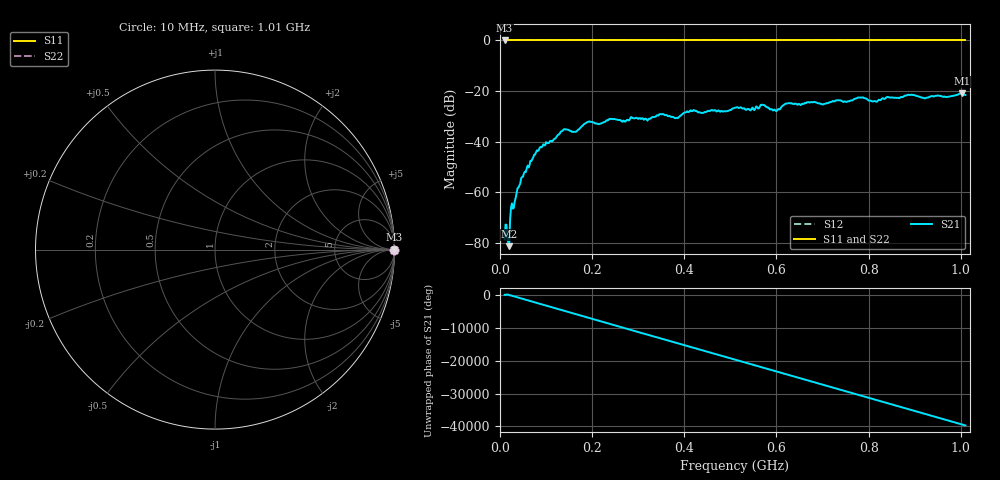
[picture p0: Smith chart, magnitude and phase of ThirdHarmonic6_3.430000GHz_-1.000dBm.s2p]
! 8/17/2025 11:01:50 AM
! C:\ANRITSUVNA\TEMP\TEMP.S2P
! CHANNEL.1
! TR.MEASUREMENT
! RAW.DATA
! RF.CORRECTION.OFF
! AVERAGING.OFF
! IF.BANDWIDTH: 5KHZ
! SWEEPTYPE:  FREQ.SWEEP(Linear)
! Reference Plane Port Info
! PORT:  PORT1  PORT2
! DISTANCE:  0  m  0  m
! TIME:  0  s  0  s
! PHASE.OFFSET:  0  deg.  0  deg.
! LOSS:  0  dB  0  dB
! REF.LOSS:  0  dB  0  dB
! REF.FREQ:  0  Hz  0  Hz
! Power Info
! POWER:  -20  dBm  -20  dBm
! EFF.POWER:  -20  dBm  -20  dBm
! SOURCE.ATTEN:  0  dB  0  dB
! TEST.ATTEN:  0  dB  0  dB
# GHZ S RI R 50.0
! FREQ.GHZ  S11RE  S11IM  S21RE  S21IM  S12RE  S12IM  S22RE  S22IM
!; PortSelection: Port_12
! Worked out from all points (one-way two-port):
!   501 points, 10 MHz to 1.01 GHz, reference 50 ohm
!   highest |S21| = -20.95 dB at 1.002 GHz (marker M1); lowest = -81.3 dB at 20 MHz (marker M2)
!   lowest |S11| = 0.0 dB at 10 MHz (marker M3)
!   |S11| at or under -10 dB: nowhere
!   |S22| runs from 0.0 to 0.0 dB; largest |S21 - S12| = 1.1
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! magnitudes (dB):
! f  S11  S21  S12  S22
! 10 MHz  0.0  -78.6  0.0  0.0
! 16 MHz  0.0  -78.8  0.0  0.0
! 20 MHz  0.0  -81.3  0.0  0.0
! 26 MHz  0.0  -64.4  0.0  0.0
! 42 MHz  0.0  -57.4  0.0  0.0
! 78 MHz  0.0  -44.2  0.0  0.0
! 136 MHz  0.0  -35.6  0.0  0.0
! 162 MHz  0.0  -36.1  0.0  0.0
! 178 MHz  0.0  -33.9  0.0  0.0
! 194 MHz  0.0  -32.0  0.0  0.0
! 322 MHz  0.0  -31.2  0.0  0.0
! 344 MHz  0.0  -29.7  0.0  0.0
! 382 MHz  0.0  -30.6  0.0  0.0
! 416 MHz  0.0  -28.0  0.0  0.0
! 510 MHz  0.0  -26.6  0.0  0.0
! 570 MHz  0.0  -25.4  0.0  0.0
! 596 MHz  0.0  -27.3  0.0  0.0
! 624 MHz  0.0  -24.9  0.0  0.0
! 678 MHz  0.0  -24.5  0.0  0.0
! 844 MHz  0.0  -22.5  0.0  0.0
! 1.002 GHz  0.0  -20.9  0.0  0.0
! 1.01 GHz  0.0  -21.6  0.0  0.0
